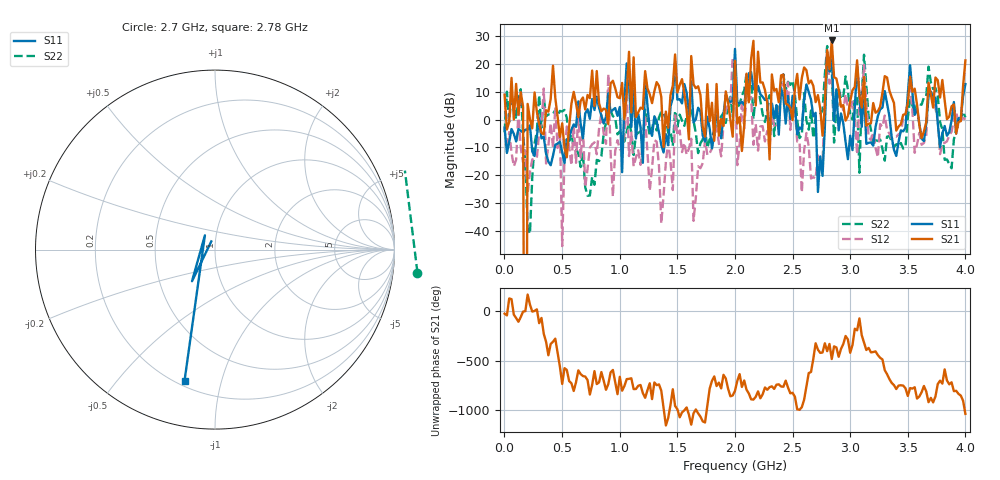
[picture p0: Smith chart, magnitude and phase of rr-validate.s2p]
!Created with skrf (http://scikit-rf.org).
# GHz S DB R 50.0
!freq dBS11 angS11 dBS21 angS21 dBS12 angS12 dBS22 angS22
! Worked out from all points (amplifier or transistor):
!   201 points, 1 MHz to 4 GHz, reference 50 ohm
!   highest |S21| = 28.5 dB at 2.84 GHz (marker M1)
!   |S21| within 3 dB of that: 2.152 GHz to 2.163 GHz (11.11 MHz wide, 0.515 % of centre)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
!   unconditionally stable (mu >= 1): 155.3 MHz to 260.6 MHz; 550.7 MHz to 585.6 MHz; 1.255 GHz to 1.282 GHz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
!   at 660.8 MHz: K = 0.42, MSG = 10.2 dB, |S12| = -13.6 dB
!   at 2.001 GHz: K = 9.43, MSG = -0.2 dB, |S12| = 21.5 dB
!   at 4 GHz: K = 1.43, MSG = 10.6 dB, |S12| = 0.1 dB
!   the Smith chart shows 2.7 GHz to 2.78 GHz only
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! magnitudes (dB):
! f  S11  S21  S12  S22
! 1 MHz  -2.9  9.0  -8.9  -4.5
! 161 MHz  -4.6  4.8  -15.4  -4.8
! 181 MHz  -3.6  -  -11.2  -15.4
! 200.9 MHz  -3.6  5.7  -26.7  -39.1
! 300.9 MHz  0.7  -1.6  -4.6  8.9
! 480.9 MHz  -7.9  -6.2  -3.4  3.2
! 500.9 MHz  -11.9  -1.3  -45.6  3.0
! 540.9 MHz  -7.0  -13.5  -2.4  0.7
! 680.8 MHz  -6.7  8.0  -2.8  -12.2
! 1.341 GHz  -4.6  12.2  -16.6  0.8
! 1.641 GHz  -1.0  12.7  -36.4  -0.3
! 2.001 GHz  25.5  21.2  21.5  18.2
! 2.02 GHz  6.1  -1.4  -16.4  4.2
! 2.46 GHz  8.5  5.3  13.4  13.7
! 2.68 GHz  1.2  12.2  -20.7  -6.7
! 2.72 GHz  -26.0  8.8  -12.2  1.2
! 2.84 GHz  24.0  28.5  15.1  19.0
! 2.98 GHz  -14.2  1.3  4.3  10.9
! 3.06 GHz  19.6  21.4  -12.5  7.8
! 3.12 GHz  10.6  15.4  19.8  23.4
! 3.34 GHz  1.3  10.5  -5.0  -5.9
! 4 GHz  12.8  21.4  0.1  0.8
